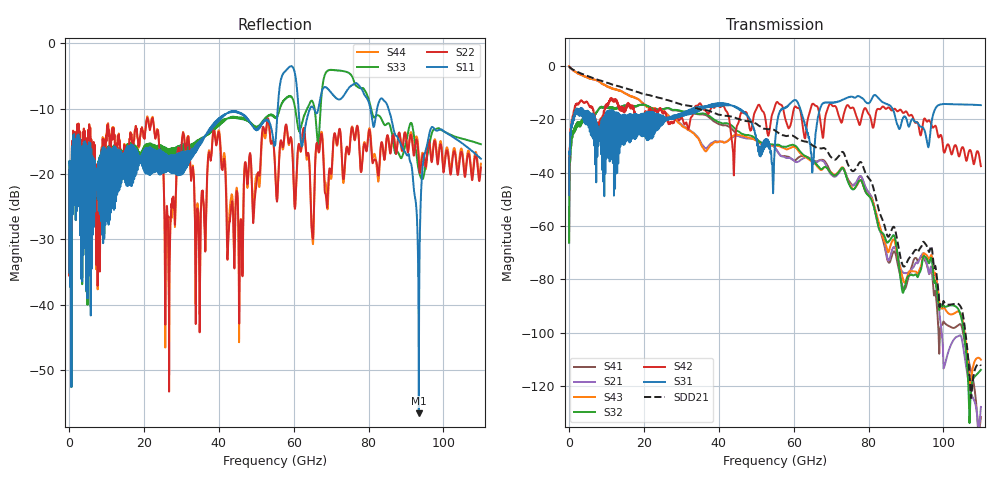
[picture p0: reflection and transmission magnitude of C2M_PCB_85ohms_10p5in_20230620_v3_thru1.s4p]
! Info: Touchstone file created by Circ.  Input file=C2M_PCB_85ohms_10p5in_20230620_v3.circ
# Hz S RI R 50
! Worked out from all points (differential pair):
!   11000 points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, 10 MHz to 110 GHz, reference 50 ohm
!   strongest paths, dB at 10 MHz, 27.51 GHz, 55.01 GHz, 82.51 GHz, 110 GHz:
!     S31: -48.5, -18.9, -29.0, -11.9, -14.7
!     S42: -48.4, -21.0, -15.0, -16.1, -37.6
!     S32: -66.2, -16.4, -29.5, -59.7, -113.9
!     S43: -0.1, -19.7, -29.9, -57.7, -110.1
!     S21: -0.1, -19.3, -30.6, -59.5, -127.7
!     S41: -66.2, -16.6, -30.7, -58.7, -131.5
!   taken as a pair (ports 3,1 in; 4,2 out), SDD21 dB: -0.1, -13.3, -24.2, -52.9, -112.4
!   lowest |S11| = -56.7 dB at 93.42 GHz (marker M1), VSWR 1.00, Z = 49.9 + j0.00992 ohm
!   |S11| at or under -10 dB: start of sweep to 55.73 GHz; 61.29 GHz to 64.33 GHz (3.041 GHz wide, 4.84 % of centre); 85.31 GHz to end of sweep (the widest 3 of 5)
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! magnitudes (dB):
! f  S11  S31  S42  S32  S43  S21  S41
! 10 MHz  -35.1  -48.5  -48.4  -66.2  -0.1  -0.1  -66.2
! 8.35 GHz  -17.6  -24.6  -20.4  -15.5  -6.3  -6.3  -15.5
! 36.15 GHz  -14.4  -15.4  -16.5  -17.9  -31.6  -30.6  -18.3
! 54.34 GHz  -13.9  -39.8  -17.9  -29.5  -29.9  -29.8  -30.0
! 73.08 GHz  -8.2  -12.7  -20.0  -38.3  -38.0  -38.4  -38.2
! 93.42 GHz  -56.7  -22.0  -22.9  -78.1  -77.1  -73.1  -72.8
! 110 GHz  -17.7  -14.7  -37.6  -113.9  -110.1  -127.7  -131.5
